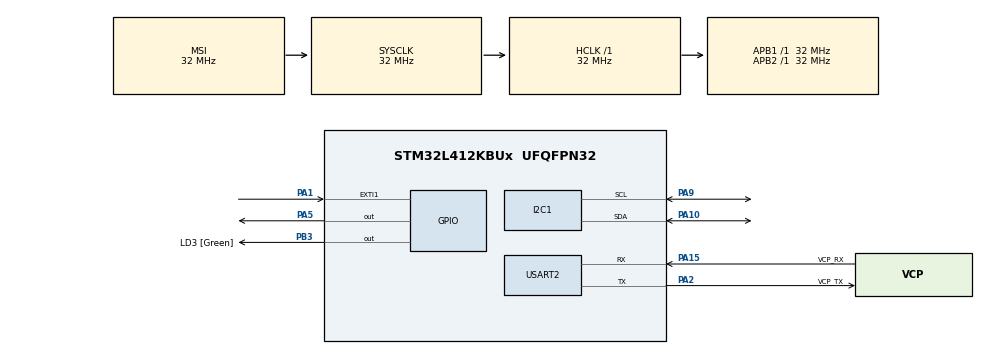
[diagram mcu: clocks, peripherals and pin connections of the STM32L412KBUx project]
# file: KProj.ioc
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FREERTOS.Queues01=myQueueTemp,1,float,0,Dynamic,NULL,NULL;myQueueHum,1,float,0,Dynamic,NULL,NULL;myQueueMode,1,uint8_t,0,Dynamic,NULL,NULL
FREERTOS.Tasks01=SensorTask,0,256,StartSensorTask,Default,NULL,Dynamic,NULL,NULL;ButtonTask,-3,128,StartButtonTask,Default,NULL,Dynamic,NULL,NULL;DisplayTask,-3,256,StartDisplayTask,Default,NULL,Dynamic,NULL,NULL
FREERTOS.configTOTAL_HEAP_SIZE=5000
FREERTOS.configUSE_NEWLIB_REENTRANT=1
I2C1.Timing=0x00B07CB4
Mcu.Family=STM32L4
Mcu.Name=STM32L412KBUx
Mcu.Package=UFQFPN32
NVIC.EXTI1_IRQn=true\:5\:0\:false\:false\:true\:true\:true\:true\:true
NVIC.PriorityGroup=NVIC_PRIORITYGROUP_4
NVIC.TIM1_UP_TIM16_IRQn=true\:15\:0\:false\:false\:true\:false\:false\:true\:true
NVIC.TimeBase=TIM1_UP_TIM16_IRQn
NVIC.TimeBaseIP=TIM16
PA0-CK_IN.Mode=HSE-External-Clock-Source-for-LittleOrca
PA0-CK_IN.Signal=RCC_CK_IN
PA1.GPIO_ModeDefaultEXTI=GPIO_MODE_IT_FALLING
PA1.GPIO_PuPd=GPIO_PULLUP
PA1.Signal=GPXTI1
PA10.Mode=I2C
PA10.Signal=I2C1_SDA
PA13\ (JTMS/SWDIO).GPIO_Label=SWDIO
PA13\ (JTMS/SWDIO).Mode=Serial_Wire
PA13\ (JTMS/SWDIO).Signal=SYS_JTMS-SWDIO
PA14\ (JTCK/SWCLK).GPIO_Label=SWCLK
PA14\ (JTCK/SWCLK).Mode=Serial_Wire
PA14\ (JTCK/SWCLK).Signal=SYS_JTCK-SWCLK
PA15\ (JTDI).GPIO_Label=VCP_RX
PA15\ (JTDI).Mode=Asynchronous
PA15\ (JTDI).Signal=USART2_RX
PA2.GPIO_Label=VCP_TX
PA2.Mode=Asynchronous
PA2.Signal=USART2_TX
PA5.Signal=GPIO_Output
PA9.Mode=I2C
PA9.Signal=I2C1_SCL
PB3\ (JTDO/TRACESWO).GPIO_Label=LD3 [Green]
PB3\ (JTDO/TRACESWO).Signal=GPIO_Output
PC14-OSC32_IN\ (PC14).Mode=LSE-External-Oscillator
PC14-OSC32_IN\ (PC14).Signal=RCC_OSC32_IN
PC15-OSC32_OUT\ (PC15).Mode=LSE-External-Oscillator
PC15-OSC32_OUT\ (PC15).Signal=RCC_OSC32_OUT
ProjectManager.HeapSize=0x200
ProjectManager.StackSize=0x400
ProjectManager.TargetToolchain=STM32CubeIDE
RCC.ADCFreq_Value=32000000
RCC.AHBFreq_Value=32000000
RCC.APB1Freq_Value=32000000
RCC.APB1TimFreq_Value=32000000
RCC.APB2Freq_Value=32000000
RCC.APB2TimFreq_Value=32000000
RCC.CortexFreq_Value=32000000
RCC.FLatency=FLASH_LATENCY_1
RCC.HCLKFreq_Value=32000000
RCC.HSE_VALUE=8000000
RCC.HSI48_VALUE=48000000
RCC.HSICalibrationValue=64
RCC.HSI_VALUE=16000000
RCC.MSIClockRange=RCC_MSIRANGE_10
RCC.MSI_VALUE=32000000
RCC.PLLN=18
RCC.SYSCLKFreq_VALUE=32000000
RCC.USBFreq_Value=32000000
RCC.VCOOutputFreq_Value=576000000
TIM6.Prescaler=31
USART2.VirtualMode-Asynchronous=VM_ASYNC
VP_FREERTOS_VS_CMSIS_V1.Mode=CMSIS_V1
VP_SYS_VS_tim16.Mode=TIM16
VP_TIM6_VS_ClockSourceINT.Mode=Enable_Timer
board=NUCLEO-L412KB

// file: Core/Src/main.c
/* USER CODE BEGIN Header */
/**
 ******************************************************************************
 * @file           : main.c
 * @brief          : Main program body
 ******************************************************************************
 * @attention
 *
 * Copyright (c) 2024 STMicroelectronics.
 * All rights reserved.
 *
 * This software is licensed under terms that can be found in the LICENSE file
 * in the root directory of this software component.
 * If no LICENSE file comes with this software, it is provided AS-IS.
 *
 ******************************************************************************
 */
/* USER CODE END Header */
#include "main.h"
#include "cmsis_os.h"

/* USER CODE BEGIN Includes */
#include "lcd1602_i2c.h"
#include <string.h>
//#include "DHT.h"
#include <stdio.h>  // Для sprintf
/* USER CODE END Includes */

/* USER CODE BEGIN PTD */
#define DHT22_PORT GPIOA
#define DHT22_PIN GPIO_PIN_5
#define BUFFER_SIZE 200 // 10 хвилин по 3 секунди

float tempBuffer[BUFFER_SIZE];
float humBuffer[BUFFER_SIZE];
/* USER CODE END PTD */

/* USER CODE BEGIN PD */
SemaphoreHandle_t btnSemaphore;
uint32_t pMillis, cMillis;

/* USER CODE END PD */

I2C_HandleTypeDef hi2c1;

TIM_HandleTypeDef htim6;

UART_HandleTypeDef huart2;

osThreadId SensorTaskHandle;
osThreadId ButtonTaskHandle;
osThreadId DisplayTaskHandle;
osMessageQId myQueueTempHandle;
osMessageQId myQueueHumHandle;
osMessageQId myQueueModeHandle;
/* USER CODE BEGIN PV */
lcd1602_HandleTypeDef lcd1602_Handle;
/* USER CODE END PV */

void SystemClock_Config(void);
static void MX_GPIO_Init(void);
static void MX_USART2_UART_Init(void);
static void MX_I2C1_Init(void);
static void MX_TIM6_Init(void);
void StartSensorTask(void const * argument);
void StartButtonTask(void const * argument);
void StartDisplayTask(void const * argument);

/* USER CODE BEGIN PFP */
void microDelay (uint16_t delay);
uint8_t DHT22_Start (void);
uint8_t DHT22_Read (void);
/* USER CODE END PFP */

int main(void)
{

	/* MCU Configuration--------------------------------------------------------*/

	/* Reset of all peripherals, Initializes the Flash interface and the Systick. */
	HAL_Init();

	/* Configure the system clock */
	SystemClock_Config();

	/* USER CODE BEGIN SysInit */
	xTraceEnable(TRC_START);
	/* USER CODE END SysInit */

	/* Initialize all configured peripherals */
	MX_GPIO_Init();
	MX_USART2_UART_Init();
	MX_I2C1_Init();
	MX_TIM6_Init();
	/* USER CODE BEGIN 2 */
	lcd1602_Init(&lcd1602_Handle, &hi2c1, PCF8574_ADDRESS);
	HAL_TIM_Base_Start(&htim6);
	//	HAL_Delay(2000);
	/* USER CODE END 2 */

	/* USER CODE BEGIN RTOS_SEMAPHORES */
	/* add semaphores, ... */
	btnSemaphore = xSemaphoreCreateBinary();
	/* USER CODE END RTOS_SEMAPHORES */

	/* Create the queue(s) */
	/* definition and creation of myQueueTemp */
	osMessageQDef(myQueueTemp, 1, float);
	myQueueTempHandle = osMessageCreate(osMessageQ(myQueueTemp), NULL);

	/* definition and creation of myQueueHum */
	osMessageQDef(myQueueHum, 1, float);
	myQueueHumHandle = osMessageCreate(osMessageQ(myQueueHum), NULL);

	/* definition and creation of myQueueMode */
	osMessageQDef(myQueueMode, 1, uint8_t);
	myQueueModeHandle = osMessageCreate(osMessageQ(myQueueMode), NULL);

	/* Create the thread(s) */
	/* definition and creation of SensorTask */
	osThreadDef(SensorTask, StartSensorTask, osPriorityNormal, 0, 256);
	SensorTaskHandle = osThreadCreate(osThread(SensorTask), NULL);

	/* definition and creation of ButtonTask */
	osThreadDef(ButtonTask, StartButtonTask, osPriorityNormal, 0, 128);
	ButtonTaskHandle = osThreadCreate(osThread(ButtonTask), NULL);

	/* definition and creation of DisplayTask */
	osThreadDef(DisplayTask, StartDisplayTask, osPriorityNormal, 0, 256);
	DisplayTaskHandle = osThreadCreate(osThread(DisplayTask), NULL);

	/* Start scheduler */
	osKernelStart();

	/* We should never get here as control is now taken by the scheduler */

	/* Infinite loop */
	while (1)
	{

	}
}

void SystemClock_Config(void)
{
	RCC_OscInitTypeDef RCC_OscInitStruct = {0};
	RCC_ClkInitTypeDef RCC_ClkInitStruct = {0};

	/** Configure the main internal regulator output voltage
	 */
	if (HAL_PWREx_ControlVoltageScaling(PWR_REGULATOR_VOLTAGE_SCALE1) != HAL_OK)
	{
		Error_Handler();
	}

	/** Configure LSE Drive Capability
	 */
	HAL_PWR_EnableBkUpAccess();
	__HAL_RCC_LSEDRIVE_CONFIG(RCC_LSEDRIVE_LOW);

	/** Initializes the RCC Oscillators according to the specified parameters
	 * in the RCC_OscInitTypeDef structure.
	 */
	RCC_OscInitStruct.OscillatorType = RCC_OSCILLATORTYPE_LSE|RCC_OSCILLATORTYPE_MSI;
	RCC_OscInitStruct.LSEState = RCC_LSE_ON;
	RCC_OscInitStruct.MSIState = RCC_MSI_ON;
	RCC_OscInitStruct.MSICalibrationValue = 0;
	RCC_OscInitStruct.MSIClockRange = RCC_MSIRANGE_10;
	RCC_OscInitStruct.PLL.PLLState = RCC_PLL_NONE;
	if (HAL_RCC_OscConfig(&RCC_OscInitStruct) != HAL_OK)
	{
		Error_Handler();
	}

	/** Initializes the CPU, AHB and APB buses clocks
	 */
	RCC_ClkInitStruct.ClockType = RCC_CLOCKTYPE_HCLK|RCC_CLOCKTYPE_SYSCLK
			|RCC_CLOCKTYPE_PCLK1|RCC_CLOCKTYPE_PCLK2;
	RCC_ClkInitStruct.SYSCLKSource = RCC_SYSCLKSOURCE_MSI;
	RCC_ClkInitStruct.AHBCLKDivider = RCC_SYSCLK_DIV1;
	RCC_ClkInitStruct.APB1CLKDivider = RCC_HCLK_DIV1;
	RCC_ClkInitStruct.APB2CLKDivider = RCC_HCLK_DIV1;

	if (HAL_RCC_ClockConfig(&RCC_ClkInitStruct, FLASH_LATENCY_1) != HAL_OK)
	{
		Error_Handler();
	}

	/** Enable MSI Auto calibration
	 */
	HAL_RCCEx_EnableMSIPLLMode();
}

static void MX_I2C1_Init(void)
{

	hi2c1.Instance = I2C1;
	hi2c1.Init.Timing = 0x00B07CB4;
	hi2c1.Init.OwnAddress1 = 0;
	hi2c1.Init.AddressingMode = I2C_ADDRESSINGMODE_7BIT;
	hi2c1.Init.DualAddressMode = I2C_DUALADDRESS_DISABLE;
	hi2c1.Init.OwnAddress2 = 0;
	hi2c1.Init.OwnAddress2Masks = I2C_OA2_NOMASK;
	hi2c1.Init.GeneralCallMode = I2C_GENERALCALL_DISABLE;
	hi2c1.Init.NoStretchMode = I2C_NOSTRETCH_DISABLE;
	if (HAL_I2C_Init(&hi2c1) != HAL_OK)
	{
		Error_Handler();
	}

	/** Configure Analogue filter
	 */
	if (HAL_I2CEx_ConfigAnalogFilter(&hi2c1, I2C_ANALOGFILTER_ENABLE) != HAL_OK)
	{
		Error_Handler();
	}

	/** Configure Digital filter
	 */
	if (HAL_I2CEx_ConfigDigitalFilter(&hi2c1, 0) != HAL_OK)
	{
		Error_Handler();
	}

}

static void MX_TIM6_Init(void)
{

	TIM_MasterConfigTypeDef sMasterConfig = {0};

	htim6.Instance = TIM6;
	htim6.Init.Prescaler = 31;
	htim6.Init.CounterMode = TIM_COUNTERMODE_UP;
	htim6.Init.Period = 65535;
	htim6.Init.AutoReloadPreload = TIM_AUTORELOAD_PRELOAD_DISABLE;
	if (HAL_TIM_Base_Init(&htim6) != HAL_OK)
	{
		Error_Handler();
	}
	sMasterConfig.MasterOutputTrigger = TIM_TRGO_RESET;
	sMasterConfig.MasterSlaveMode = TIM_MASTERSLAVEMODE_DISABLE;
	if (HAL_TIMEx_MasterConfigSynchronization(&htim6, &sMasterConfig) != HAL_OK)
	{
		Error_Handler();
	}

}

static void MX_USART2_UART_Init(void)
{

	huart2.Instance = USART2;
	huart2.Init.BaudRate = 115200;
	huart2.Init.WordLength = UART_WORDLENGTH_8B;
	huart2.Init.StopBits = UART_STOPBITS_1;
	huart2.Init.Parity = UART_PARITY_NONE;
	huart2.Init.Mode = UART_MODE_TX_RX;
	huart2.Init.HwFlowCtl = UART_HWCONTROL_NONE;
	huart2.Init.OverSampling = UART_OVERSAMPLING_16;
	huart2.Init.OneBitSampling = UART_ONE_BIT_SAMPLE_DISABLE;
	huart2.AdvancedInit.AdvFeatureInit = UART_ADVFEATURE_NO_INIT;
	if (HAL_UART_Init(&huart2) != HAL_OK)
	{
		Error_Handler();
	}

}

static void MX_GPIO_Init(void)
{
	GPIO_InitTypeDef GPIO_InitStruct = {0};

	/* GPIO Ports Clock Enable */
	__HAL_RCC_GPIOC_CLK_ENABLE();
	__HAL_RCC_GPIOA_CLK_ENABLE();
	__HAL_RCC_GPIOB_CLK_ENABLE();

	/*Configure GPIO pin Output Level */
	HAL_GPIO_WritePin(GPIOA, GPIO_PIN_5, GPIO_PIN_RESET);

	/*Configure GPIO pin Output Level */
	HAL_GPIO_WritePin(LD3_GPIO_Port, LD3_Pin, GPIO_PIN_RESET);

	/*Configure GPIO pin : PA1 */
	GPIO_InitStruct.Pin = GPIO_PIN_1;
	GPIO_InitStruct.Mode = GPIO_MODE_IT_FALLING;
	GPIO_InitStruct.Pull = GPIO_PULLUP;
	HAL_GPIO_Init(GPIOA, &GPIO_InitStruct);

	/*Configure GPIO pin : PA5 */
	GPIO_InitStruct.Pin = GPIO_PIN_5;
	GPIO_InitStruct.Mode = GPIO_MODE_OUTPUT_PP;
	GPIO_InitStruct.Pull = GPIO_NOPULL;
	GPIO_InitStruct.Speed = GPIO_SPEED_FREQ_LOW;
	HAL_GPIO_Init(GPIOA, &GPIO_InitStruct);

	/*Configure GPIO pin : LD3_Pin */
	GPIO_InitStruct.Pin = LD3_Pin;
	GPIO_InitStruct.Mode = GPIO_MODE_OUTPUT_PP;
	GPIO_InitStruct.Pull = GPIO_NOPULL;
	GPIO_InitStruct.Speed = GPIO_SPEED_FREQ_LOW;
	HAL_GPIO_Init(LD3_GPIO_Port, &GPIO_InitStruct);

	/* EXTI interrupt init*/
	HAL_NVIC_SetPriority(EXTI1_IRQn, 5, 0);
	HAL_NVIC_EnableIRQ(EXTI1_IRQn);

}

/* USER CODE BEGIN 4 */

void HAL_GPIO_EXTI_Callback(uint16_t GPIO_Pin)
{
	UNUSED(GPIO_Pin);
	xSemaphoreGiveFromISR(btnSemaphore, NULL);

}

void microDelay (uint16_t delay)
{
	__HAL_TIM_SET_COUNTER(&htim6, 0);
	while (__HAL_TIM_GET_COUNTER(&htim6) < delay);
}

uint8_t DHT22_Start (void)
{
	uint8_t Response = 0;
	GPIO_InitTypeDef GPIO_InitStructPrivate = {0};
	GPIO_InitStructPrivate.Pin = DHT22_PIN;
	GPIO_InitStructPrivate.Mode = GPIO_MODE_OUTPUT_PP;
	GPIO_InitStructPrivate.Speed = GPIO_SPEED_FREQ_LOW;
	GPIO_InitStructPrivate.Pull = GPIO_NOPULL;
	HAL_GPIO_Init(DHT22_PORT, &GPIO_InitStructPrivate); // set the pin as output
	HAL_GPIO_WritePin (DHT22_PORT, DHT22_PIN, 0);   // pull the pin low
	microDelay (1300);   // wait for 1300us
	HAL_GPIO_WritePin (DHT22_PORT, DHT22_PIN, 1);   // pull the pin high
	microDelay (30);   // wait for 30us
	GPIO_InitStructPrivate.Mode = GPIO_MODE_INPUT;
	GPIO_InitStructPrivate.Pull = GPIO_PULLUP;
	HAL_GPIO_Init(DHT22_PORT, &GPIO_InitStructPrivate); // set the pin as input
	microDelay (40);
	if (!(HAL_GPIO_ReadPin (DHT22_PORT, DHT22_PIN)))
	{
		microDelay (80);
		if ((HAL_GPIO_ReadPin (DHT22_PORT, DHT22_PIN))) Response = 1;
	}
	pMillis = xTaskGetTickCount();
	cMillis = xTaskGetTickCount();
	while ((HAL_GPIO_ReadPin (DHT22_PORT, DHT22_PIN)) && pMillis + 2 > cMillis)
	{
		cMillis = xTaskGetTickCount();
	}
	return Response;
}

uint8_t DHT22_Read (void)
{
	uint8_t a, b;
	for (a = 0; a < 8; a++)
	{
		pMillis = xTaskGetTickCount();
		cMillis = xTaskGetTickCount();
		while (!(HAL_GPIO_ReadPin (DHT22_PORT, DHT22_PIN)) && pMillis + 2 > cMillis)
		{  // wait for the pin to go high
			cMillis = xTaskGetTickCount();
		}
		microDelay (40);   // wait for 40 us
		if (!(HAL_GPIO_ReadPin (DHT22_PORT, DHT22_PIN)))   // if the pin is low
			b&= ~(1<<(7-a));
		else
			b|= (1<<(7-a));
		pMillis = xTaskGetTickCount();
		cMillis = xTaskGetTickCount();
		while ((HAL_GPIO_ReadPin (DHT22_PORT, DHT22_PIN)) && pMillis + 2 > cMillis)
		{  // wait for the pin to go low
			cMillis = xTaskGetTickCount();
		}
	}
	return b;
}

float calculateAverage(float *buffer, uint16_t size)
{
	float sum = 0;
	for (uint16_t i = 0; i < size; i++)
	{
		sum += buffer[i];
	}
	return sum / size;
}

float findMax(float *buffer, uint16_t size)
{
	float max = buffer[0];
	for (uint16_t i = 1; i < size; i++)
	{
		if (buffer[i] > max)
		{
			max = buffer[i];
		}
	}
	return max;
}

float findMin(float *buffer, uint16_t size)
{
	float min = buffer[0];
	for (uint16_t i = 1; i < size; i++)
	{
		if (buffer[i] < min)
		{
			min = buffer[i];
		}
	}
	return min;
}

/* USER CODE END 4 */

void StartSensorTask(void const * argument)
{
	/* USER CODE BEGIN 5 */
	uint8_t RH1, RH2, TC1, TC2, SUM, CHECK;
	float tCelsius = 0;
	float RH = 0;

	/* Infinite loop */
	for(;;)
	{
		if(DHT22_Start())
		{
			RH1 = DHT22_Read(); // First 8bits of humidity
			RH2 = DHT22_Read(); // Second 8bits of Relative humidity
			TC1 = DHT22_Read(); // First 8bits of Celsius
			TC2 = DHT22_Read(); // Second 8bits of Celsius
			SUM = DHT22_Read(); // Check sum
			CHECK = RH1 + RH2 + TC1 + TC2;
			if (CHECK == SUM)
			{
				if (TC1>127) // If TC1=10000000, negative temperature
				{
					tCelsius = (float)TC2/10*(-1);
				}
				else
				{
					tCelsius = (float)((TC1<<8)|TC2)/10;
				}

				RH = (float) ((RH1<<8)|RH2)/10;

				xQueueSend(myQueueTempHandle, &tCelsius, portMAX_DELAY);
				xQueueSend(myQueueHumHandle, &RH, portMAX_DELAY);

				osDelay(3000);
			}
		}
		osDelay(1);
	}
	/* USER CODE END 5 */
}

void StartButtonTask(void const * argument)
{
	/* USER CODE BEGIN StartButtonTask */
	uint8_t displayMode = 0;
	/* Infinite loop */
	for(;;)
	{
		if (xSemaphoreTake(btnSemaphore, portMAX_DELAY) == pdTRUE)
		{
			displayMode = (displayMode + 1) % 4;
			xQueueSend(myQueueModeHandle, &displayMode, 0);
			osDelay(500);
			xSemaphoreTake(btnSemaphore, 0);
		}
		osDelay(1);
	}
	/* USER CODE END StartButtonTask */
}

void StartDisplayTask(void const * argument)
{
	/* USER CODE BEGIN StartDisplayTask */
	char lcdBuffer[50];
	float temperature;
	float hum;

	uint16_t bufferIndex = 0;
	uint16_t validDataCount = 0;
	uint8_t displayMode = 0;

	/* Infinite loop */
	for(;;)
	{
		xQueueReceive(myQueueTempHandle, &temperature, portMAX_DELAY);
		xQueueReceive(myQueueHumHandle, &hum, portMAX_DELAY);
		xQueueReceive(myQueueModeHandle, &displayMode, 0);

		tempBuffer[bufferIndex] = temperature;
		humBuffer[bufferIndex] = hum;
		bufferIndex = (bufferIndex + 1) % BUFFER_SIZE;

		if (validDataCount < BUFFER_SIZE)
		{
			validDataCount++;
		}

		lcd1602_Clear(&lcd1602_Handle);
		lcd1602_SetCursor(&lcd1602_Handle, 0, 0);

		switch (displayMode)
		{
		case 0:
			lcd1602_Print(&lcd1602_Handle, "Current:");
			sprintf(lcdBuffer, "T:%.1fC H:%.1f%%", temperature, hum);
			break;

		case 1:
		{
			float avgTemp = calculateAverage(tempBuffer, validDataCount);
			float avgHum = calculateAverage(humBuffer, validDataCount);
			lcd1602_Print(&lcd1602_Handle, "Average:");
			sprintf(lcdBuffer, "T:%.1fC H:%.1f%%", avgTemp, avgHum);
		}
		break;

		case 2:
		{
			float maxTemp = findMax(tempBuffer, validDataCount);
			float maxHum = findMax(humBuffer, validDataCount);
			lcd1602_Print(&lcd1602_Handle, "Maximum:");
			sprintf(lcdBuffer, "T:%.1fC H:%.1f%%", maxTemp, maxHum);
		}
		break;

		case 3:
		{
			float minTemp = findMin(tempBuffer, validDataCount);
			float minHum = findMin(humBuffer, validDataCount);
			lcd1602_Print(&lcd1602_Handle, "Minimum:");
			sprintf(lcdBuffer, "T:%.1fC H:%.1f%%", minTemp, minHum);
		}
		break;

		default:
			break;
		}

		lcd1602_SetCursor(&lcd1602_Handle, 0, 1);
		lcd1602_Print(&lcd1602_Handle, lcdBuffer);
		osDelay(3000);

		osDelay(1);
	}
	/* USER CODE END StartDisplayTask */
}

void HAL_TIM_PeriodElapsedCallback(TIM_HandleTypeDef *htim)
{
	if (htim->Instance == TIM16) {
		HAL_IncTick();
	}
}

void Error_Handler(void)
{
	__disable_irq();
	while (1)
	{
	}
}
